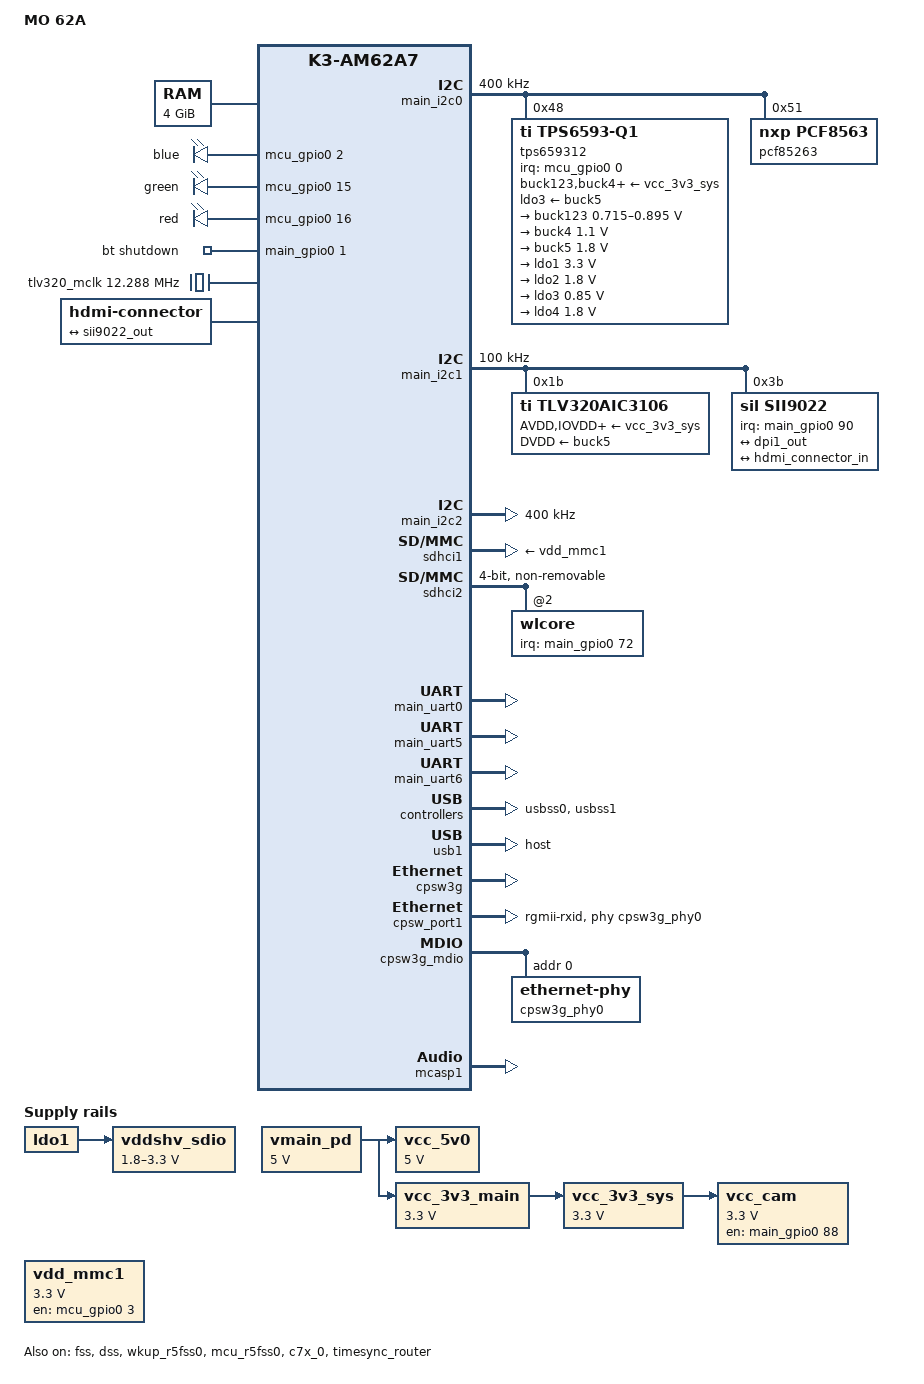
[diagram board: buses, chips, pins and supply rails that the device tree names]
// SPDX-License-Identifier: GPL-2.0-only OR MIT
/*
 * AM62A SK: https://www.ti.com/lit/zip/sprr459
 *
 * Copyright (C) 2022-2024 Texas Instruments Incorporated - https://www.ti.com/
 */

/dts-v1/;

#include <dt-bindings/leds/common.h>
#include <dt-bindings/gpio/gpio.h>
#include <dt-bindings/net/ti-dp83867.h>
#include "k3-am62a7.dtsi"

#include "k3-am62a7-mo-62a-pinmux.dtsi"

#include "k3-timesync-router.h"

/ {
	compatible = "ti,am62a7-sk", "ti,am62a7";
	model = "MO 62A";

	aliases {
		serial0 = &wkup_uart0;
		serial1 = &mcu_uart0;
		serial2 = &main_uart0;
		serial3 = &main_uart5;
		serial4 = &main_uart6;
		mmc1    = &sdhci1;
		mmc2    = &sdhci2;
		rtc0    = &pcf85263;
		ethernet0 = &cpsw_port1;
	};

	chosen {
		stdout-path = "serial2:115200n8";
	};

	memory@80000000 {
		device_type = "memory";
		/* 4G RAM */
		reg = <0x00000000 0x80000000 0x00000000 0x80000000>,
		      <0x00000008 0x80000000 0x00000000 0x80000000>;
	};

	reserved-memory {
		#address-cells = <2>;
		#size-cells = <2>;
		ranges;

		/* global cma region */
		linux,cma {
			compatible = "shared-dma-pool";
			reusable;
			size = <0x00 0x24000000>;
			alloc-ranges = <0x00 0xc0000000 0x00 0x24000000>;
			linux,cma-default;
		};

		c7x_0_dma_memory_region: c7x-dma-memory@99800000 {
			compatible = "shared-dma-pool";
			reg = <0x00 0x99800000 0x00 0x100000>;
			no-map;
		};

		c7x_0_memory_region: c7x-memory@99900000 {
			compatible = "shared-dma-pool";
			reg = <0x00 0x99900000 0x00 0xf00000>;
			no-map;
		};

		mcu_r5fss0_core0_dma_memory_region: r5f-dma-memory@9b800000 {
			compatible = "shared-dma-pool";
			reg = <0x00 0x9b800000 0x00 0x100000>;
			no-map;
		};

		mcu_r5fss0_core0_memory_region: r5f-dma-memory@9b900000 {
			compatible = "shared-dma-pool";
			reg = <0x00 0x9b900000 0x00 0xf00000>;
			no-map;
		};

		wkup_r5fss0_core0_dma_memory_region: r5f-dma-memory@9c800000 {
			compatible = "shared-dma-pool";
			reg = <0x00 0x9c800000 0x00 0x100000>;
			no-map;
		};

		wkup_r5fss0_core0_memory_region: r5f-dma-memory@9c900000 {
			compatible = "shared-dma-pool";
			reg = <0x00 0x9c900000 0x00 0x1e00000>;
			no-map;
		};

		secure_tfa_ddr: tfa@9e780000 {
			reg = <0x00 0x9e780000 0x00 0x80000>;
			alignment = <0x1000>;
			no-map;
		};

		secure_ddr: optee@9e800000 {
			reg = <0x00 0x9e800000 0x00 0x01800000>; /* for OP-TEE */
			alignment = <0x1000>;
			no-map;
		};

		rtos_ipc_memory_region: ipc-memories@a0000000 {
			compatible = "shared-dma-pool";
			reg = <0x00 0xa0000000 0x00 0x01000000>;
			no-map;
		};

		/*
		 * EdgeAI/TIDL carveouts (merged from TI edgeai overlay .dtso)
		 *
		 * NOTE:
		 * - This region layout intentionally ends at 0xc0000000 to avoid
		 *   colliding with the CMA alloc-ranges used by display/video pipelines.
		 */
		edgeai_memory_region: edgeai-dma-memory@a1000000 {
			compatible = "shared-dma-pool";
			reg = <0x00 0xa1000000 0x00 0x02000000>;
			no-map;
		};

		edgeai_shared_region: edgeai_shared-memories {
			compatible = "dma-heap-carveout";
			reg = <0x00 0xa3000000 0x00 0x0ac00000>;
		};

		edgeai_core_heaps: edgeai-core-heap-memory@adc00000 {
			compatible = "shared-dma-pool";
			reg = <0x00 0xadc00000 0x00 0x12400000>;
			no-map;
		};
	};

	opp-table {
		/* Requires VDD_CORE at 0v85 */
		opp-1400000000 {
			opp-hz = /bits/ 64 <1400000000>;
			opp-supported-hw = <0x01 0x0004>;
			clock-latency-ns = <6000000>;
		};
	};

	vmain_pd: regulator-0 {
		compatible = "regulator-fixed";
		regulator-name = "vmain_pd";
		regulator-min-microvolt = <5000000>;
		regulator-max-microvolt = <5000000>;
		regulator-always-on;
		regulator-boot-on;
	};

	vcc_5v0: regulator-1 {
		compatible = "regulator-fixed";
		regulator-name = "vcc_5v0";
		regulator-min-microvolt = <5000000>;
		regulator-max-microvolt = <5000000>;
		vin-supply = <&vmain_pd>;
		regulator-always-on;
		regulator-boot-on;
	};

	vcc_3v3_main: regulator-2 {
		compatible = "regulator-fixed";
		regulator-name = "vcc_3v3_main";
		regulator-min-microvolt = <3300000>;
		regulator-max-microvolt = <3300000>;
		vin-supply = <&vmain_pd>;
		regulator-always-on;
		regulator-boot-on;
	};

	vdd_mmc1: regulator-3 {
		compatible = "regulator-fixed";
		regulator-name = "vdd_mmc1";
		pinctrl-names = "default";
		pinctrl-0 = <&vdd_mmc1_pins_default>;
		regulator-min-microvolt = <3300000>;
		regulator-max-microvolt = <3300000>;
		regulator-boot-on;
		enable-active-high;
		gpio = <&mcu_gpio0 3 GPIO_ACTIVE_HIGH>;
	};

	vcc_3v3_sys: regulator-4 {
		compatible = "regulator-fixed";
		regulator-name = "vcc_3v3_sys";
		regulator-min-microvolt = <3300000>;
		regulator-max-microvolt = <3300000>;
		vin-supply = <&vcc_3v3_main>;
		regulator-always-on;
		regulator-boot-on;
	};

	vddshv_sdio: regulator-5 {
		compatible = "regulator-gpio";
		regulator-name = "vddshv_sdio";
		pinctrl-names = "default";
		pinctrl-0 = <&vddshv_sdio_pins_default>;
		regulator-min-microvolt = <1800000>;
		regulator-max-microvolt = <3300000>;
		regulator-boot-on;
		vin-supply = <&ldo1>;
		gpios = <&main_gpio0 31 GPIO_ACTIVE_HIGH>;
		states = <1800000 0x0>,
			 <3300000 0x1>;
	};

	vcc_cam: regulator-6 {
		compatible = "regulator-fixed";
		regulator-name = "vcc_cam_3v3";
		regulator-min-microvolt = <3300000>;
		regulator-max-microvolt = <3300000>;
		gpio = <&main_gpio0 88 GPIO_ACTIVE_HIGH>;
		enable-active-high;
		startup-delay-us = <5000>;
		vin-supply = <&vcc_3v3_sys>;
	};

	leds {
		compatible = "gpio-leds";
		pinctrl-names = "default";
		pinctrl-0 = <&usr_led_pins_default>;

		led-blue {
			label = "blue";
			gpios = <&mcu_gpio0 2 GPIO_ACTIVE_HIGH>;
			default-state = "off";
		};

		led-green {
			label = "green";
			gpios = <&mcu_gpio0 15 GPIO_ACTIVE_HIGH>;
			default-state = "off";
		};

		led-red {
			label = "red";
			gpios = <&mcu_gpio0 16 GPIO_ACTIVE_HIGH>;
			default-state = "off";
		};
	};

	bt: rfkill-bt {
		compatible = "rfkill-gpio";
		label = "bt";
		radio-type = "bluetooth";
		shutdown-gpios = <&main_gpio0 1 GPIO_ACTIVE_HIGH>;
		pinctrl-names = "default";
		pinctrl-0 = <&bt_en_pins_default>;
	};

	tlv320_mclk: clk-0 {
		#clock-cells = <0>;
		compatible = "fixed-clock";
		clock-frequency = <12288000>;
	};

	hdmi0: connector-hdmi {
		compatible = "hdmi-connector";
		label = "hdmi";
		type = "a";

		port {
			hdmi_connector_in: endpoint {
				remote-endpoint = <&sii9022_out>;
			};
		};
	};

	codec_audio: sound {
		compatible = "simple-audio-card";
		simple-audio-card,name = "AM62Ax-SKEVM";
		simple-audio-card,widgets =
			"Headphone",	"Headphone Jack",
			"Line",		"Line In",
			"Microphone",	"Microphone Jack";
		simple-audio-card,routing =
			"Headphone Jack",	"HPLOUT",
			"Headphone Jack",	"HPROUT",
			"LINE1L",		"Line In",
			"LINE1R",		"Line In",
			"MIC3R",		"Microphone Jack",
			"Microphone Jack",	"Mic Bias";
		simple-audio-card,format = "dsp_b";
		simple-audio-card,bitclock-master = <&sound_master>;
		simple-audio-card,frame-master = <&sound_master>;
		simple-audio-card,bitclock-inversion;

		simple-audio-card,cpu {
			sound-dai = <&mcasp1>;
		};

		sound_master: simple-audio-card,codec {
			sound-dai = <&tlv320aic3106>;
			clocks = <&tlv320_mclk>;
		};
	};

	hdmi_audio: sound-hdmi {
		compatible = "simple-audio-card";
		simple-audio-card,name = "HDMI";
		status = "disabled";
	};

	clk_imx219_fixed: imx219-xclk {
		compatible = "fixed-clock";
		#clock-cells = <0>;
		clock-frequency = <24000000>;
	};
};

/* WKUP UART0 is used for DM firmware logs */
&wkup_uart0 {
	pinctrl-names = "default";
	pinctrl-0 = <&wkup_uart0_pins_default>;
	status = "reserved";
};

&mcu_gpio0 {
	status = "okay";
};

&main_i2c0 {
	status = "okay";
	pinctrl-names = "default";
	pinctrl-0 = <&main_i2c0_pins_default>;
	clock-frequency = <400000>;

	tps659312: pmic@48 {
		compatible = "ti,tps6593-q1";
		reg = <0x48>;
		ti,primary-pmic;
		system-power-controller;

		gpio-controller;
		#gpio-cells = <2>;

		pinctrl-names = "default";
		pinctrl-0 = <&pmic_irq_pins_default>;
		interrupt-parent = <&mcu_gpio0>;
		interrupts = <0 IRQ_TYPE_EDGE_FALLING>;

		buck123-supply = <&vcc_3v3_sys>;
		buck4-supply = <&vcc_3v3_sys>;
		buck5-supply = <&vcc_3v3_sys>;
		ldo1-supply = <&vcc_3v3_sys>;
		ldo2-supply = <&vcc_3v3_sys>;
		ldo3-supply = <&buck5>;
		ldo4-supply = <&vcc_3v3_sys>;

		regulators {
			buck123: buck123 {
				regulator-name = "vcc_core";
				regulator-min-microvolt = <715000>;
				regulator-max-microvolt = <895000>;
				regulator-boot-on;
				regulator-always-on;
			};

			buck4: buck4 {
				regulator-name = "vcc_1v1";
				regulator-min-microvolt = <1100000>;
				regulator-max-microvolt = <1100000>;
				regulator-boot-on;
				regulator-always-on;
			};

			buck5: buck5 {
				regulator-name = "vcc_1v8_sys";
				regulator-min-microvolt = <1800000>;
				regulator-max-microvolt = <1800000>;
				regulator-boot-on;
				regulator-always-on;
			};

			ldo1: ldo1 {
				regulator-name = "vddshv5_sdio";
				regulator-min-microvolt = <3300000>;
				regulator-max-microvolt = <3300000>;
				regulator-boot-on;
				regulator-always-on;
			};

			ldo2: ldo2 {
				regulator-name = "vpp_1v8";
				regulator-min-microvolt = <1800000>;
				regulator-max-microvolt = <1800000>;
				regulator-boot-on;
				regulator-always-on;
			};

			ldo3: ldo3 {
				regulator-name = "vcc_0v85";
				regulator-min-microvolt = <850000>;
				regulator-max-microvolt = <850000>;
				regulator-boot-on;
				regulator-always-on;
			};

			ldo4: ldo4 {
				regulator-name = "vdda_1v8";
				regulator-min-microvolt = <1800000>;
				regulator-max-microvolt = <1800000>;
				regulator-boot-on;
				regulator-always-on;
			};
		};
	};

	pcf85263: rtc@51 {
		compatible = "nxp,pcf8563";
		reg = <0x51>;
	};
};

&main_i2c1 {
	status = "okay";
	pinctrl-names = "default";
	pinctrl-0 = <&main_i2c1_pins_default>;
	clock-frequency = <100000>;

	tlv320aic3106: audio-codec@1b {
		#sound-dai-cells = <0>;
		compatible = "ti,tlv320aic3106";
		reg = <0x1b>;
		ai3x-micbias-vg = <1>;	/* 2.0V */

		/* Regulators */
		AVDD-supply = <&vcc_3v3_sys>;
		IOVDD-supply = <&vcc_3v3_sys>;
		DRVDD-supply = <&vcc_3v3_sys>;
		DVDD-supply = <&buck5>;
	};

	sii9022: bridge-hdmi@3b {
		compatible = "sil,sii9022";
		reg = <0x3b>;
		pinctrl-names = "default";
		pinctrl-0 = <&gpio0_pins_default>;
		interrupt-parent = <&main_gpio0>;
		interrupts = <90 IRQ_TYPE_EDGE_FALLING>;
		#sound-dai-cells = <0>;
		sil,i2s-data-lanes = < 0 >;

		ports {
			#address-cells = <1>;
			#size-cells = <0>;

			port@0 {
				reg = <0>;

				sii9022_in: endpoint {
					remote-endpoint = <&dpi1_out>;
				};
			};

			port@1 {
				reg = <1>;

				sii9022_out: endpoint {
					remote-endpoint = <&hdmi_connector_in>;
				};
			};
		};
	};
};

&main_i2c2 {
	status = "okay";
	pinctrl-names = "default";
	pinctrl-0 = <&main_i2c2_pins_default>;
	clock-frequency = <400000>;

	imx219: camera@10 {
		compatible = "sony,imx219";
		reg = <0x10>;
		status = "disabled";
	};
};

&sdhci0 {
	status = "disabled";
};

&sdhci1 {
	/* SD/MMC */
	status = "okay";
	vmmc-supply = <&vdd_mmc1>;
	vqmmc-supply = <&vddshv_sdio>;
	pinctrl-names = "default";
	pinctrl-0 = <&main_mmc1_pins_default>;
	disable-wp;
};

&sdhci2 {
	pinctrl-names = "default";
	pinctrl-0 = <&main_mmc2_pins_default>;
	bus-width = <4>;
	non-removable;
	ti,fails-without-test-cd;
	cap-power-off-card;
	keep-power-in-suspend;
	ti,driver-strength-ohm = <50>;
	#address-cells = <1>;
	#size-cells = <0>;
	status = "okay";

	wlcore: wlcore@2 {
		reg = <2>;
		pinctrl-names = "default";
		pinctrl-0 = <&wlan_irq_pins_default>;
		interrupt-parent = <&main_gpio0>;
		interrupts = <72 IRQ_TYPE_EDGE_FALLING>;
	};
};

&main_gpio0 {
	status = "okay";
};

&main_gpio1 {
	status = "okay";
};

&main_gpio_intr {
	status = "okay";
};

&main_uart0 {
	status = "okay";
	pinctrl-names = "default";
	pinctrl-0 = <&main_uart0_pins_default>;
	interrupts-extended = <&gic500 GIC_SPI 178 IRQ_TYPE_LEVEL_HIGH>,
			<&main_pmx0 0x1c8>; /* (D14) UART0_RXD PADCONFIG114 */
	interrupt-names = "irq", "wakeup";
};

&main_uart5 {
	status = "okay";
	pinctrl-names = "default";
	pinctrl-0 = <&main_uart5_pins_default>;
};

&main_uart6 {
	status = "okay";
	pinctrl-names = "default";
	pinctrl-0 = <&main_uart6_pins_default>;
};

/* Main UART1 is used for TIFS firmware logs */
&main_uart1 {
	status = "disabled";
};

/* main_timer2 is used by C7x DSP */
&main_timer2 {
	status = "reserved";
};

&usbss0 {
	status = "okay";
	ti,vbus-divider;
};

&usb0 {
	usb-role-switch;
};

&usbss1 {
	status = "okay";
};

&usb1 {
	dr_mode = "host";
	pinctrl-names = "default";
	pinctrl-0 = <&main_usb1_pins_default>;
};

&cpsw3g {
	status = "okay";
	pinctrl-names = "default";
	pinctrl-0 = <&main_rgmii1_pins_default>;

	cpts@3d000 {
		/* MAP HW3_TS_PUSH to GENF1 */
		ti,pps = <2 1>;
	};
};

&cpsw_port1 {
	status = "okay";
	phy-mode = "rgmii-rxid";
	phy-handle = <&cpsw3g_phy0>;
};

&cpsw_port2 {
	status = "disabled";
};

&cpsw3g_mdio {
	status = "okay";
	pinctrl-names = "default";
	pinctrl-0 = <&main_mdio0_pins_default>;

	cpsw3g_phy0: ethernet-phy@0 {
		reg = <0>;
		ti,rx-internal-delay = <DP83867_RGMIIDCTL_2_00_NS>;
		ti,fifo-depth = <DP83867_PHYCR_FIFO_DEPTH_4_B_NIB>;
		ti,min-output-impedance;
	};
};

&fss {
	status = "okay";
};

&ospi0 {
	status = "disabled";
};

&mcasp0 {
	status = "disabled";
};

&mcasp1 {
	status = "okay";
	#sound-dai-cells = <0>;

	pinctrl-names = "default";
	pinctrl-0 = <&main_mcasp1_pins_default>;

	op-mode = <0>;          /* MCASP_IIS_MODE */
	tdm-slots = <2>;

	serial-dir = <  /* 0: INACTIVE, 1: TX, 2: RX */
	       1 0 2 0
	       0 0 0 0
	       0 0 0 0
	       0 0 0 0
	>;
};

&dss {
	status = "okay";
	pinctrl-names = "default";
	pinctrl-0 = <&main_dss0_pins_default>;
};

&dss_ports {
	/* VP2: DPI Output */
	hdmi0_dss: port@1 {
		reg = <1>;

		dpi1_out: endpoint {
			remote-endpoint = <&sii9022_in>;
		};
	};
};

/*
 * VDEC (wave521c) expects an IRQ and an OPP table. Without these, the driver
 * falls back to polling (IRQ index not found).
 * Keep this aligned with TI reference DTS/DTSI for AM62* wave521c.
 */
&vpu {
	interrupts = <GIC_SPI 225 IRQ_TYPE_LEVEL_HIGH>;

	operating-points-v2 = <&vpu_opp_table>;
	vpu_opp_table: opp-table {
		compatible = "operating-points-v2";

		opp-20000000 {
			opp-hz = /bits/ 64 <20000000>;
		};

		opp-100000000 {
			opp-hz = /bits/ 64 <100000000>;
		};

		opp-200000000 {
			opp-hz = /bits/ 64 <200000000>;
		};

		opp-400000000 {
			opp-hz = /bits/ 64 <400000000>;
		};

		opp-500000000 {
			opp-hz = /bits/ 64 <500000000>;
		};
	};
};

&mailbox0_cluster0 {
	ti,mbox-num-fifos = <2>;
	mbox_r5_0: mbox-r5-0 {
		ti,mbox-rx = <0 0 0>;
		ti,mbox-tx = <1 0 0>;
	};
};

&mailbox0_cluster1 {
	ti,mbox-num-fifos = <2>;
	mbox_c7x_0: mbox-c7x-0 {
		ti,mbox-rx = <0 0 0>;
		ti,mbox-tx = <1 0 0>;
	};
};

&mailbox0_cluster2 {
	ti,mbox-num-fifos = <2>;
	mbox_mcu_r5_0: mbox-mcu-r5-0 {
		ti,mbox-rx = <0 0 0>;
		ti,mbox-tx = <1 0 0>;
	};
};

&wkup_r5fss0 {
	status = "okay";
};

&wkup_r5fss0_core0 {
	mboxes = <&mailbox0_cluster0>, <&mbox_r5_0>;
	memory-region = <&wkup_r5fss0_core0_dma_memory_region>,
			<&wkup_r5fss0_core0_memory_region>;
};

&mcu_r5fss0 {
	status = "okay";
};

&mcu_r5fss0_core0 {
	mboxes = <&mailbox0_cluster2>, <&mbox_mcu_r5_0>;
	memory-region = <&mcu_r5fss0_core0_dma_memory_region>,
			<&mcu_r5fss0_core0_memory_region>;
};

&c7x_0 {
	mboxes = <&mailbox0_cluster1>, <&mbox_c7x_0>;
	memory-region = <&c7x_0_dma_memory_region>,
			<&c7x_0_memory_region>;
	status = "okay";
};

/* main_rti4 is used by C7x DSP */
&main_rti4 {
	status = "reserved";
};

&timesync_router {
	/* Use Time Sync Router to map GENF1 input to HW3_TS_PUSH output */
	mux-reg-masks-state = <
		/* pps [cpsw cpts genf1] in17 -> out12 [cpsw cpts hw3_push] */
		K3_TS_OFFSET(12, 0x0001ffff, 17)
		>;
	status = "okay";
};

&cdns_csi2rx0 {
	status = "disabled";
};

&ti_csi2rx0 {
	status = "disabled";
};

&dphy0 {
	status = "disabled";
};
